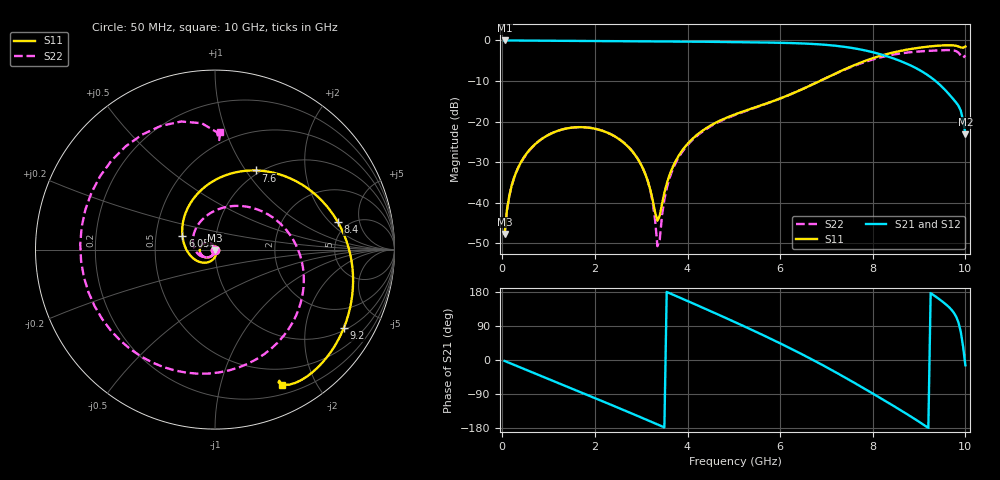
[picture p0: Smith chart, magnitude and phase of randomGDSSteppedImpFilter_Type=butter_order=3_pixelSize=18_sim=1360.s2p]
! freq	dB(S11)	phase(S11)	dB(S12)	phase(S12)
!  dB(S21)	phase(S21)	dB(S22)	phase(S22)
!S-par simulation data
#  GHz  S  DB  R 50
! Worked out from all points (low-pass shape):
!   200 points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, 50 MHz to 10 GHz, reference 50 ohm
!   highest |S21| = 0.00 dB at 50 MHz (marker M1); lowest = -23.1 dB at 10 GHz (marker M2)
!   |S21| within 3 dB of the highest: start of sweep to 8.034 GHz
!   lowest |S11| = -47.7 dB at 50 MHz (marker M3), VSWR 1.01, Z = 50 - j0.412 ohm
!   |S11| at or under -10 dB: start of sweep to 6.856 GHz
!   |S22| runs from -50.7 to -2.4 dB; largest |S21 - S12| = 0
!   S11 on the Smith chart (normalised r, x): 50 MHz: 1.00, -0.01; 6.05 GHz: 0.69, +0.11; 7.6 GHz: 0.95, +1.11; 8.4 GHz: 4.14, +2.49; 9.2 GHz: 1.08, -3.23; 10 GHz: 0.30, -1.56
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0.05  -47.71 -90.4  -0.00 -2.5  -0.00 -2.5  -47.90 -91.6
0.2  -35.92 -99.2  -0.02 -10.1  -0.02 -10.1  -35.92 -99.8
0.5  -28.27 -115.0  -0.04 -25.2  -0.04 -25.2  -28.39 -115.6
1.75  -21.39 -178.2  -0.13 -87.9  -0.13 -87.9  -21.38 179.5
2.9  -28.77 119.3  -0.18 -146.5  -0.18 -146.5  -28.71 121.0
3.15  -34.96 97.0  -0.20 -159.5  -0.20 -159.5  -34.98 111.2
3.25  -39.49 77.5  -0.20 -164.7  -0.20 -164.7  -40.03 111.7
3.35  -44.43 22.2  -0.21 -169.9  -0.21 -169.9  -50.71 151.8
3.4  -43.19 -16.3  -0.21 -172.5  -0.21 -172.5  -49.09 -135.4
3.55  -35.36 -63.1  -0.23 179.6  -0.23 179.6  -36.44 -107.4
3.8  -28.60 -86.5  -0.25 166.3  -0.25 166.3  -29.01 -116.5
5.05  -18.12 -152.9  -0.41 98.6  -0.41 98.6  -18.27 169.4
6.05  -14.09 156.8  -0.59 40.9  -0.59 40.9  -14.09 101.9
6.7  -10.85 119.9  -0.86 0.6  -0.86 0.6  -10.82 57.3
7.6  -6.10 62.8  -1.94 -60.0  -1.94 -60.0  -6.25 -7.5
8.35  -3.22 15.5  -4.06 -113.9  -4.06 -113.9  -3.70 -69.4
8.4  -3.08 12.6  -4.25 -117.6  -4.25 -117.6  -3.59 -74.0
8.8  -2.14 -10.3  -6.07 -147.4  -6.07 -147.4  -2.92 -113.6
9.2  -1.51 -31.4  -8.65 -179.2  -8.65 -179.2  -2.57 -161.4
9.45  -1.26 -43.9  -10.94 159.2  -10.94 159.2  -2.43 162.9
9.7  -1.19 -56.3  -13.95 132.6  -13.95 132.6  -2.40 122.4
10  -1.49 -63.9  -23.09 -14.0  -23.09 -14.0  -3.68 87.4
